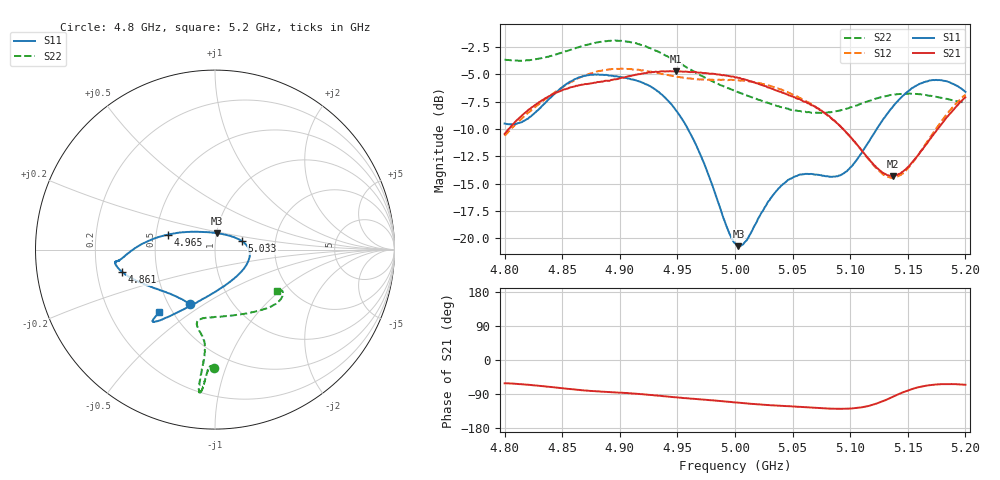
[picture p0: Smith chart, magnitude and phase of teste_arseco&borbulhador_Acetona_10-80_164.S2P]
! Network Analyzer HP8722D
! Hewlett-Packard
! Data name: Linha & Wilkinson
! Saver's name: Rodrigo Anjos
! Comments: Teste da utilização de aquisição
! continua pelo VNA HP8722D
! Time and date: 17/4/2025 15:43
!  Frequency  S11  S21  S12  S22
# HZ  S  MA R 50
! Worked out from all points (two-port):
!   401 points, 4.8 GHz to 5.2 GHz, reference 50 ohm
!   highest |S21| = -4.71 dB at 4.949 GHz (marker M1); lowest = -14.3 dB at 5.137 GHz (marker M2)
!   |S21| within 3 dB of the highest: 4.828 GHz to 5.065 GHz (236.8 MHz wide, 4.79 % of centre); 5.194202 GHz to end of sweep
!   lowest |S11| = -20.7 dB at 5.003 GHz (marker M3), VSWR 1.20, Z = 50.1 + j9.23 ohm
!   |S11| at or under -10 dB: 4.959 GHz to 5.123 GHz (163.9 MHz wide, 3.25 % of centre)
!   |S22| runs from -8.5 to -1.9 dB; largest |S21 - S12| = 0.87
!   S11 on the Smith chart (normalised r, x): 4.8 GHz: 0.64, -0.44; 4.861 GHz: 0.31, -0.11; 4.965 GHz: 0.58, +0.10; 5.033 GHz: 1.35, +0.13; 5.2 GHz: 0.42, -0.38
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4.8e9  0.3346 -114.7  0.2998 -61.4  0.2943 -175.5  0.6573 -90.6
4.819e9  0.3497 -134.8  0.3796 -65.1  0.3688 -174.6  0.6531 -92.2
4.861e9  0.5347 -166.7  0.4948 -77.8  0.5293 -177.8  0.7389 -94.6
4.867e9  0.5481 -169.1  0.5043 -79.8  0.5482 -179.1  0.7564 -94.8
4.9e9  0.5475 -173.4  0.5394 -86.1  0.5952 174.6  0.8007 -96.1
4.934e9  0.4665 -179.3  0.5777 -94.4  0.5698 171.0  0.7108 -96.5
4.949e9  0.3835 173.5  0.5817 -98.4  0.5493 171.4  0.6459 -96.1
4.965e9  0.2754 162.3  0.5774 -102.8  0.5341 173.0  0.5765 -95.7
4.994e9  0.1085 115.7  0.5535 -110.0  0.5284 175.2  0.4854 -98.4
5e9  0.09469 95.6  0.5437 -111.8  0.5295 175.4  0.4711 -99.8
5.003e9  0.09187 84.3  0.5412 -112.7  0.528 175.3  0.4649 -100.5
5.011e9  0.09938 57.1  0.5285 -114.9  0.524 175.2  0.4491 -102.0
5.033e9  0.1572 17.5  0.4821 -119.7  0.4928 173.9  0.4088 -103.7
5.048e9  0.187 2.4  0.449 -122.1  0.4601 173.3  0.3874 -99.9
5.067e9  0.1966 -17.8  0.4054 -125.5  0.4096 172.9  0.3752 -89.7
5.096e9  0.201 -68.5  0.3072 -128.6  0.307 174.5  0.3903 -67.0
5.122e9  0.3103 -108.7  0.2132 -115.9  0.2106 -170.3  0.435 -49.0
5.134e9  0.3818 -118.4  0.1931 -101.3  0.19 -154.2  0.4511 -43.1
5.137e9  0.3994 -120.1  0.1928 -97.3  0.1894 -149.5  0.4541 -41.7
5.149e9  0.4645 -125.4  0.2088 -81.5  0.206 -131.4  0.4586 -37.3
5.17e9  0.5276 -130.2  0.2868 -66.1  0.2925 -112.3  0.4483 -32.5
5.2e9  0.4674 -131.6  0.4414 -65.3  0.4542 -107.5  0.4165 -34.1
